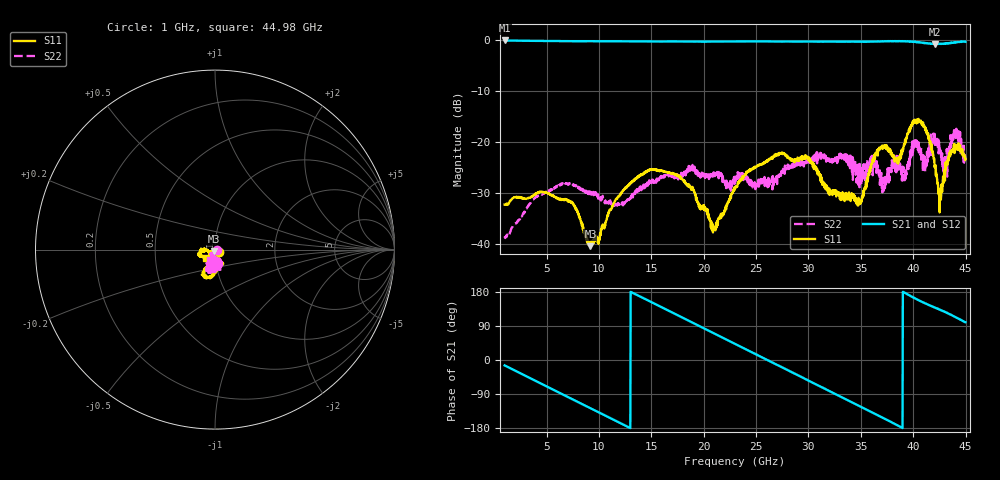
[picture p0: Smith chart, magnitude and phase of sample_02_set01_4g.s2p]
!Keysight Technologies,N5247B,MY61255062,A.19.80.06
!Date: Friday, March 13, 2026 17:59:54
!Correction: S11(C  2-Port  )
!S21(C  2-Port  )
!S12(C  2-Port  )
!S22(C  2-Port  )
!S2P File: Measurements: S11, S21, S12, S22:
# Hz S  dB  R 50
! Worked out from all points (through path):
!   1467 points, 1 GHz to 44.98 GHz, reference 50 ohm
!   highest |S21| = -0.13 dB at 1 GHz (marker M1); lowest = -0.8 dB at 42.04 GHz (marker M2)
!   group delay of S21, straight-line fit = 38.4 ps
!   lowest |S11| = -40.3 dB at 9.19 GHz (marker M3), VSWR 1.02, Z = 49.6 - j0.887 ohm
!   |S11| at or under -10 dB: start of sweep to end of sweep
!   |S22| runs from -38.8 to -17.4 dB; largest |S21 - S12| = 0.009
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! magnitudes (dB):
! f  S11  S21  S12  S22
! 1 GHz  -32.2  -0.1  -0.1  -38.4
! 4.9 GHz  -29.9  -0.2  -0.2  -29.9
! 8.35 GHz  -36.0  -0.3  -0.3  -29.4
! 9.19 GHz  -40.3  -0.3  -0.3  -29.7
! 12.37 GHz  -29.3  -0.3  -0.3  -31.7
! 15.67 GHz  -25.6  -0.3  -0.3  -27.3
! 18.82 GHz  -29.3  -0.4  -0.4  -25.1
! 20.95 GHz  -37.0  -0.3  -0.3  -26.5
! 22.99 GHz  -28.9  -0.3  -0.3  -26.8
! 27.16 GHz  -22.5  -0.3  -0.3  -26.4
! 30.34 GHz  -24.3  -0.3  -0.3  -23.1
! 34.78 GHz  -30.9  -0.4  -0.4  -28.4
! 36.34 GHz  -23.3  -0.3  -0.3  -23.7
! 37.66 GHz  -21.9  -0.2  -0.3  -27.9
! 38.62 GHz  -22.9  -0.3  -0.3  -23.5
! 40.57 GHz  -16.0  -0.5  -0.5  -21.1
! 41.08 GHz  -16.9  -0.6  -0.6  -24.6
! 42.04 GHz  -24.9  -0.8  -0.8  -18.4
! 42.58 GHz  -29.1  -0.8  -0.8  -21.5
! 43.06 GHz  -24.0  -0.7  -0.7  -25.5
! 43.69 GHz  -21.9  -0.6  -0.6  -20.5
! 44.98 GHz  -23.3  -0.4  -0.3  -24.0
